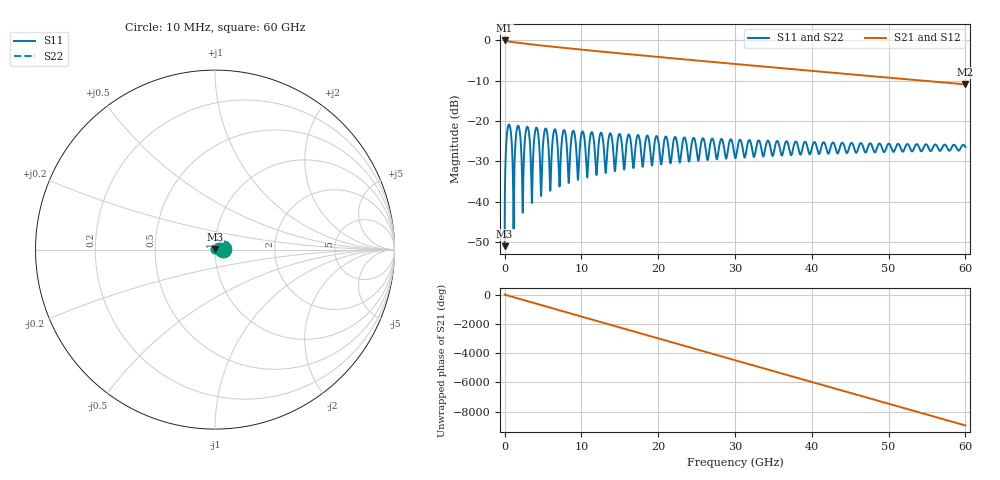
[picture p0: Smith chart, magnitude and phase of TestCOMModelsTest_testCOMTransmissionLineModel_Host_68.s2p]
! File created by SignalIntegrity v1.3.5: Signal and Power Integrity Tools
! https://github.com/TeledyneLeCroy/SignalIntegrity
# MHz S MA R 50.0
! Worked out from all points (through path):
!   6000 points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, 10 MHz to 60 GHz, reference 50 ohm
!   highest |S21| = -0.03 dB at 10 MHz (marker M1); lowest = -10.9 dB at 60 GHz (marker M2)
!   group delay of S21, straight-line fit = 414 ps
!   lowest |S11| = -51.1 dB at 10 MHz (marker M3), VSWR 1.01, Z = 50 + j0.277 ohm
!   |S11| at or under -10 dB: start of sweep to end of sweep
!   |S22| runs from -51.1 to -20.9 dB; largest |S21 - S12| = 0
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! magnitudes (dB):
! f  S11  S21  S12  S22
! 10 MHz  -51.1  0.0  0.0  -51.1
! 560 MHz  -20.9  -0.3  -0.3  -20.9
! 1.18 GHz  -46.8  -0.4  -0.4  -46.8
! 1.76 GHz  -21.2  -0.6  -0.6  -21.2
! 2.37 GHz  -42.8  -0.7  -0.7  -42.8
! 2.95 GHz  -21.4  -0.9  -0.9  -21.4
! 3.56 GHz  -40.4  -1.0  -1.0  -40.4
! 4.14 GHz  -21.7  -1.2  -1.2  -21.7
! 4.76 GHz  -38.7  -1.3  -1.3  -38.7
! 5.34 GHz  -21.9  -1.4  -1.4  -21.9
! 5.95 GHz  -37.3  -1.5  -1.5  -37.3
! 6.53 GHz  -22.1  -1.6  -1.6  -22.1
! 7.15 GHz  -36.3  -1.7  -1.7  -36.3
! 7.73 GHz  -22.3  -1.9  -1.9  -22.3
! 8.35 GHz  -35.4  -2.0  -2.0  -35.4
! 10.01 GHz  -23.2  -2.3  -2.3  -23.2
! 10.76 GHz  -34.0  -2.4  -2.4  -34.0
! 20.01 GHz  -24.9  -4.1  -4.1  -24.9
! 30.01 GHz  -29.1  -5.9  -5.9  -29.1
! 40.01 GHz  -26.7  -7.6  -7.6  -26.7
! 50.01 GHz  -25.6  -9.3  -9.3  -25.6
! 60 GHz  -26.5  -10.9  -10.9  -26.5
